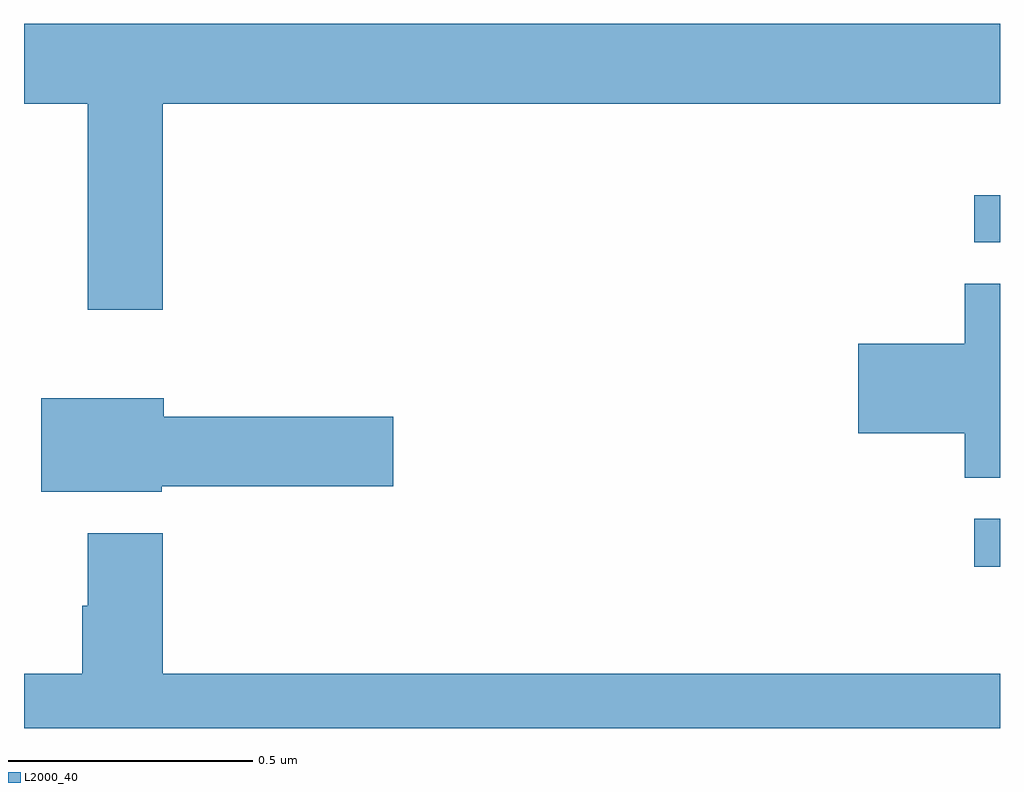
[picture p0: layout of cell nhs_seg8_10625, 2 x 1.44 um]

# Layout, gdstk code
import gdstk
lib = gdstk.Library(unit=1e-6, precision=1e-09)
def R(c, l, rs):  # rectangles x0, y0, x1, y1
    for r in rs: c.add(gdstk.rectangle(r[:2], r[2:], *l))
def P(c, l, *ps):  # polygons
    for p in ps: c.add(gdstk.Polygon(p, *l))
L2000_40 = (2000, 40)

nhs_seg8_10625 = lib.new_cell('nhs_seg8_10625')
R(nhs_seg8_10625, L2000_40, [(253.947,1102.231,254,1102.329), (253.947,1102.896,254,1102.992)])
P(nhs_seg8_10625, L2000_40, [(252.284,1103.18),(254,1103.18),(254,1103.344),(252,1103.344),(252,1103.18),(252.131,1103.18),(252.131,1102.758),(252.284,1102.758)],
  [(254,1102.811),(253.928,1102.811),(253.928,1102.688),(253.71,1102.688),(253.71,1102.505),(253.928,1102.505),(253.928,1102.414),(254,1102.414)],
  [(252.282,1102.396),(252.757,1102.396),(252.757,1102.538),(252.286,1102.538),(252.286,1102.576),(252.035,1102.576),(252.035,1102.385),(252.282,1102.385)],
  [(254,1102.012),(252.284,1102.012),(252.284,1102.3),(252.131,1102.3),(252.131,1102.151),(252.119,1102.151),(252.119,1102.012),(252,1102.012),(252,1101.9),(254,1101.9)])

lib.write_gds('nhs_seg8_10625.gds')
